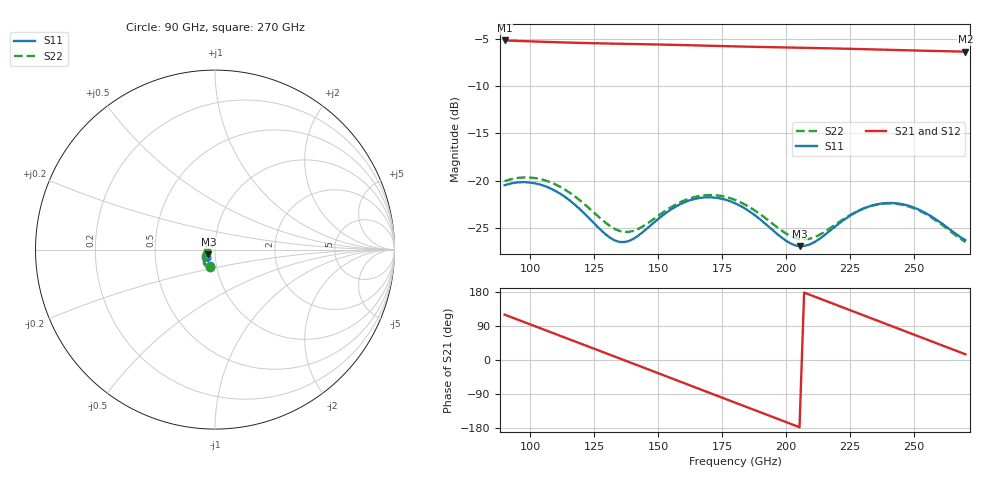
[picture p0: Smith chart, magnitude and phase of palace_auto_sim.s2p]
#  GHZ S DB R 50
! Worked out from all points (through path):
!   101 points, 90 GHz to 270 GHz, reference 50 ohm
!   highest |S21| = -5.21 dB at 90 GHz (marker M1); lowest = -6.4 dB at 270 GHz (marker M2)
!   group delay of S21, straight-line fit = 7.17 ps
!   lowest |S11| = -26.9 dB at 205.2 GHz (marker M3), VSWR 1.09, Z = 46.4 - j2.47 ohm
!   |S11| at or under -10 dB: start of sweep to end of sweep
!   |S22| runs from -26.5 to -19.7 dB; largest |S21 - S12| = 9e-14
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90  -20.48 -106.0  -5.21 119.7  -5.21 119.7  -20.06 -104.7
97.2  -20.16 -116.3  -5.27 101.2  -5.27 101.2  -19.67 -115.0
104.4  -20.46 -127.1  -5.34 82.6  -5.34 82.6  -19.87 -125.7
111.6  -21.36 -136.9  -5.40 64.1  -5.40 64.1  -20.64 -135.5
120.6  -23.32 -144.5  -5.47 41.0  -5.47 41.0  -22.35 -143.7
127.8  -25.27 -143.0  -5.51 22.5  -5.51 22.5  -24.08 -143.9
135  -26.47 -132.2  -5.55 3.9  -5.55 3.9  -25.32 -136.3
142.2  -25.81 -120.2  -5.59 -14.6  -5.59 -14.6  -25.10 -126.0
151.2  -23.78 -117.4  -5.64 -37.9  -5.64 -37.9  -23.48 -122.0
165.6  -21.85 -131.1  -5.73 -75.2  -5.73 -75.2  -21.64 -133.3
172.8  -21.81 -140.5  -5.78 -93.8  -5.78 -93.8  -21.55 -141.9
180  -22.38 -149.1  -5.83 -112.4  -5.83 -112.4  -22.03 -150.0
192.6  -24.72 -157.0  -5.91 -144.9  -5.91 -144.9  -24.11 -157.9
205.2  -26.92 -144.0  -5.97 -177.4  -5.97 -177.4  -26.18 -147.9
210.6  -26.56 -135.1  -6.00 168.6  -6.00 168.6  -26.02 -140.2
217.8  -25.13 -129.4  -6.04 150.0  -6.04 150.0  -24.90 -134.4
226.8  -23.41 -132.3  -6.10 126.7  -6.10 126.7  -23.36 -136.3
234  -22.59 -139.0  -6.15 108.0  -6.15 108.0  -22.61 -142.2
241.2  -22.36 -147.0  -6.20 89.4  -6.20 89.4  -22.41 -149.8
253.8  -23.32 -159.7  -6.29 56.9  -6.29 56.9  -23.42 -161.7
262.8  -24.92 -163.2  -6.34 33.7  -6.34 33.7  -25.06 -164.8
270  -26.29 -159.2  -6.39 15.1  -6.39 15.1  -26.48 -160.4
